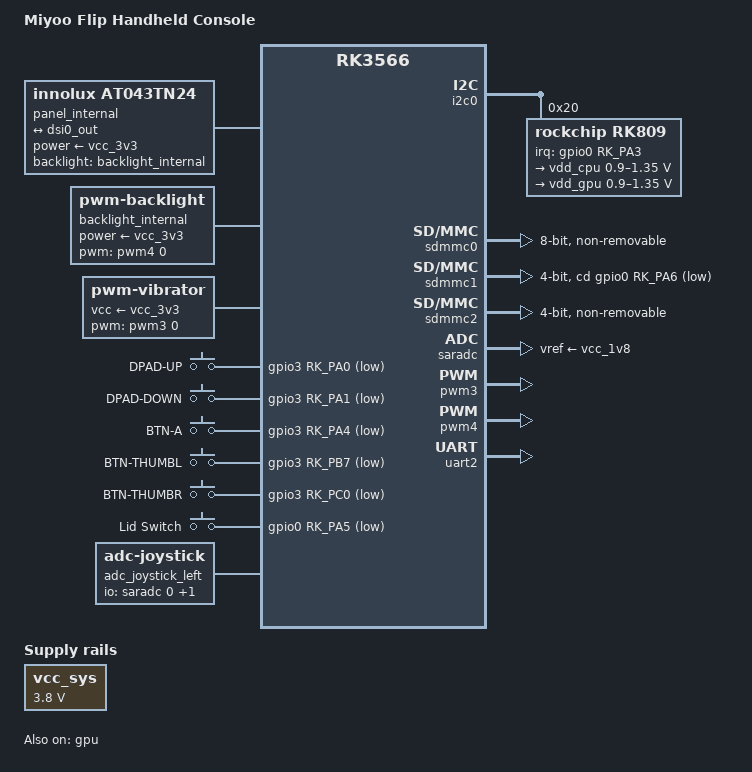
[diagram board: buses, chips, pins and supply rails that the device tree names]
// SPDX-License-Identifier: (GPL-2.0+ OR MIT)
/*
 * Device Tree Source for Miyoo Flip Handheld Console
 * 
 * Based on Rockchip RK3566 SoC
 * Copyright (c) 2026 Onion Community
 * 
 * Inspired by:
 * - rk3566-quartz64-a.dts (Pine64 Quartz64 Model A)
 * - rk3566-anbernic-rgxx3.dts (Anbernic RG353 series)
 * - rk3326-odroid-go2.dts (ODROID-GO Advance)
 */

/dts-v1/;

#include <dt-bindings/gpio/gpio.h>
#include <dt-bindings/input/input.h>
#include <dt-bindings/interrupt-controller/irq.h>
#include <dt-bindings/pinctrl/rockchip.h>
#include <dt-bindings/pwm/pwm.h>
#include <dt-bindings/soc/rockchip,vop2.h>
#include "rk3566.dtsi"

/ {
	model = "Miyoo Flip Handheld Console";
	compatible = "miyoo,flip", "rockchip,rk3566";

	aliases {
		mmc0 = &sdmmc0;
		mmc1 = &sdmmc1;
		mmc2 = &sdmmc2;
	};

	chosen {
		stdout-path = "serial2:1500000n8";
	};

	vcc_sys: vcc-sys-regulator {
		compatible = "regulator-fixed";
		regulator-name = "vcc_sys";
		regulator-always-on;
		regulator-boot-on;
		regulator-min-microvolt = <3800000>;
		regulator-max-microvolt = <3800000>;
	};

	panel_internal: panel-internal {
		compatible = "innolux,at043tn24", "simple-panel";
		backlight = <&backlight_internal>;
		power-supply = <&vcc_3v3>;
		
		port {
			panel_internal_in: endpoint {
				remote-endpoint = <&dsi0_out>;
			};
		};
	};

	backlight_internal: backlight-internal {
		compatible = "pwm-backlight";
		pwms = <&pwm4 0 25000 0>;
		brightness-levels = <0 10 20 30 40 50 60 70 80 90 100>;
		default-brightness-level = <8>;
		power-supply = <&vcc_3v3>;
	};

	vibrator {
		compatible = "pwm-vibrator";
		pwm-names = "enable";
		pwms = <&pwm3 0 1000000 0>;
		vcc-supply = <&vcc_3v3>;
	};

	gpio_keys: gpio-keys {
		compatible = "gpio-keys";
		pinctrl-names = "default";
		pinctrl-0 = <&gpio_keys_pins>;

		button-up {
			label = "DPAD-UP";
			linux,code = <BTN_DPAD_UP>;
			gpios = <&gpio3 RK_PA0 GPIO_ACTIVE_LOW>;
		};

		button-down {
			label = "DPAD-DOWN";
			linux,code = <BTN_DPAD_DOWN>;
			gpios = <&gpio3 RK_PA1 GPIO_ACTIVE_LOW>;
		};

		button-a {
			label = "BTN-A";
			linux,code = <BTN_EAST>;
			gpios = <&gpio3 RK_PA4 GPIO_ACTIVE_LOW>;
		};

		button-thumbl {
			label = "BTN-THUMBL";
			linux,code = <BTN_THUMBL>;
			gpios = <&gpio3 RK_PB7 GPIO_ACTIVE_LOW>;
		};

		button-thumbr {
			label = "BTN-THUMBR";
			linux,code = <BTN_THUMBR>;
			gpios = <&gpio3 RK_PC0 GPIO_ACTIVE_LOW>;
		};
	};

	gpio_switches: gpio-switches {
		compatible = "gpio-keys";
		pinctrl-names = "default";
		pinctrl-0 = <&lid_sensor_pin>;

		lid {
			label = "Lid Switch";
			gpios = <&gpio0 RK_PA5 GPIO_ACTIVE_LOW>;
			linux,input-type = <EV_SW>;
			linux,code = <SW_LID>;
			wakeup-source;
			debounce-interval = <10>;
		};
	};

	adc_joystick_left: adc-joystick-left {
		compatible = "adc-joystick";
		io-channels = <&saradc 0>, <&saradc 1>;
		io-channel-names = "x", "y";
		poll-interval = <10>;
		
		#address-cells = <1>;
		#size-cells = <0>;

		axis@0 {
			reg = <0>;
			linux,code = <ABS_X>;
			abs-range = <0 1023>;
			abs-fuzz = <10>;
			abs-flat = <50>;
		};

		axis@1 {
			reg = <1>;
			linux,code = <ABS_Y>;
			abs-range = <0 1023>;
			abs-fuzz = <10>;
			abs-flat = <50>;
		};
	};
};

&cpu0 {
	cpu-supply = <&vdd_cpu>;
};

&gpu {
	mali-supply = <&vdd_gpu>;
	status = "okay";
};

&i2c0 {
	status = "okay";
	
	rk809: pmic@20 {
		compatible = "rockchip,rk809";
		reg = <0x20>;
		interrupt-parent = <&gpio0>;
		interrupts = <RK_PA3 IRQ_TYPE_LEVEL_LOW>;
		rockchip,system-power-controller;
		wakeup-source;

		regulators {
			vdd_cpu: DCDC_REG1 {
				regulator-name = "vdd_cpu";
				regulator-always-on;
				regulator-boot-on;
				regulator-min-microvolt = <900000>;
				regulator-max-microvolt = <1350000>;
			};

			vdd_gpu: DCDC_REG2 {
				regulator-name = "vdd_gpu";
				regulator-always-on;
				regulator-boot-on;
				regulator-min-microvolt = <900000>;
				regulator-max-microvolt = <1350000>;
			};
		};
	};
};

&sdmmc0 {
	status = "okay";
	bus-width = <8>;
	non-removable;
};

&sdmmc1 {
	status = "okay";
	bus-width = <4>;
	cd-gpios = <&gpio0 RK_PA6 GPIO_ACTIVE_LOW>;
};

&sdmmc2 {
	status = "okay";
	bus-width = <4>;
	non-removable;
};

&saradc {
	status = "okay";
	vref-supply = <&vcc_1v8>;
};

&pwm3 {
	status = "okay";
};

&pwm4 {
	status = "okay";
};

&uart2 {
	status = "okay";
};

&pinctrl {
	gpio-keys {
		gpio_keys_pins: gpio-keys-pins {
			rockchip,pins =
				<3 RK_PA0 RK_FUNC_GPIO &pcfg_pull_up>,
				<3 RK_PA1 RK_FUNC_GPIO &pcfg_pull_up>,
				<3 RK_PA4 RK_FUNC_GPIO &pcfg_pull_up>,
				<3 RK_PB7 RK_FUNC_GPIO &pcfg_pull_up>,
				<3 RK_PC0 RK_FUNC_GPIO &pcfg_pull_up>;
		};
	};

	lid-sensor {
		lid_sensor_pin: lid-sensor-pin {
			rockchip,pins = <0 RK_PA5 RK_FUNC_GPIO &pcfg_pull_up>;
		};
	};
};
